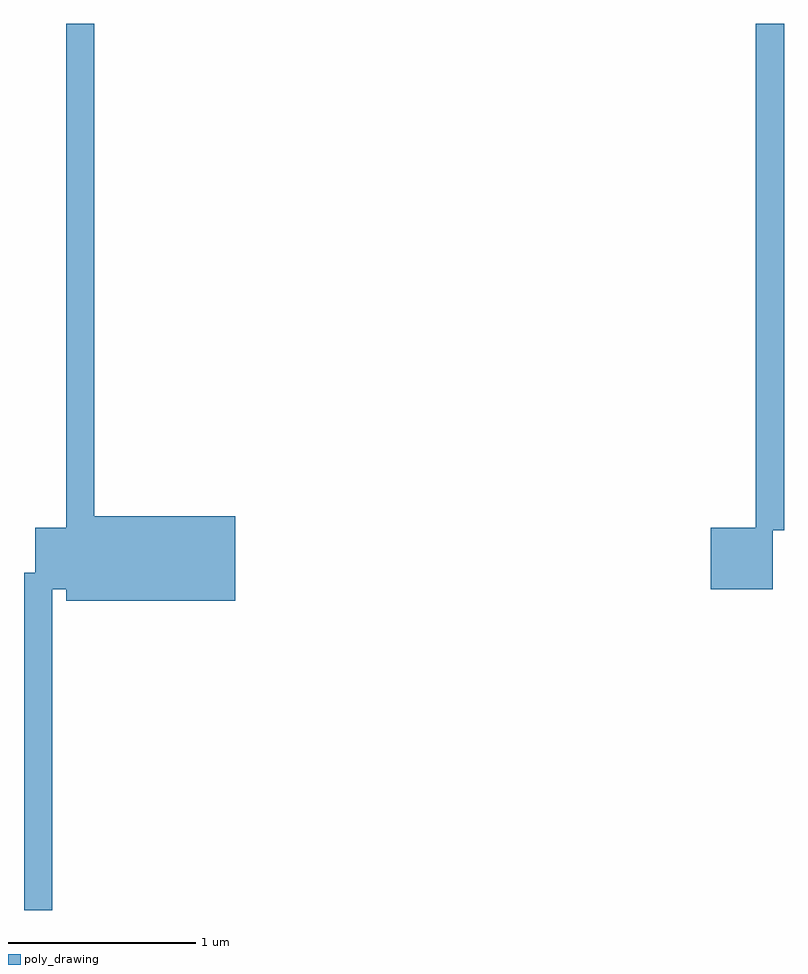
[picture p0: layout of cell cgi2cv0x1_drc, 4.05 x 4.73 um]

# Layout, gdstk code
import gdstk
lib = gdstk.Library(unit=1e-6, precision=5e-09)
def R(c, l, rs):  # rectangles x0, y0, x1, y1
    for r in rs: c.add(gdstk.rectangle(r[:2], r[2:], *l))
poly_drawing = (66, 20)

cgi2cv0x1_drc = lib.new_cell('cgi2cv0x1_drc')
R(cgi2cv0x1_drc, poly_drawing, [(0.675,0.525,0.825,2.325), (0.675,0.525,0.825,2.325), (0.675,0.525,0.825,2.325), (0.675,0.525,0.825,2.325), (0.675,0.525,0.825,2.325), (0.675,0.525,0.825,2.325), (0.9,2.175,1.05,5.25), (0.9,2.175,1.05,5.25), (0.9,2.175,1.8,2.625), (0.9,2.175,1.8,2.625), (0.735,2.235,1.8,2.565), (0.735,2.235,1.8,2.565), (4.335,2.235,4.665,2.565), (4.335,2.235,4.665,2.565), (4.575,2.55,4.725,5.25), (4.575,2.55,4.725,5.25)])

lib.write_gds('cgi2cv0x1_drc.gds')
